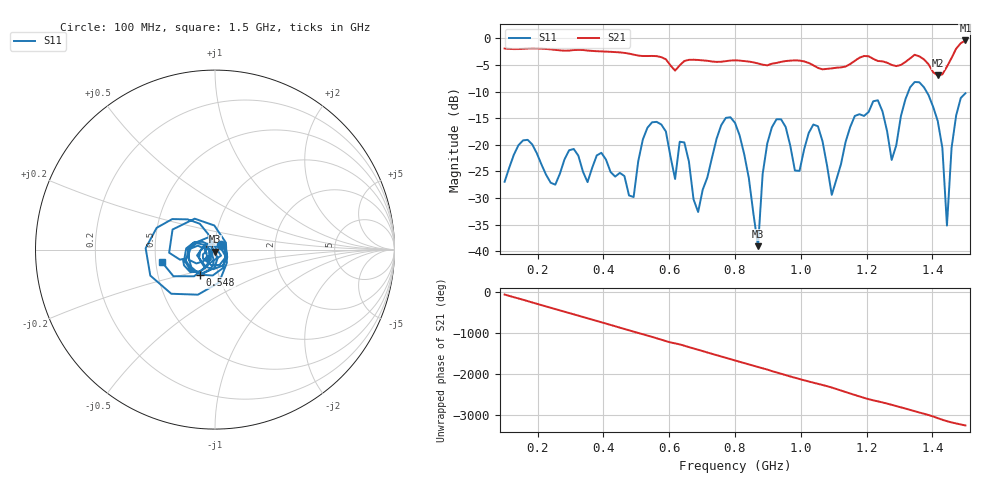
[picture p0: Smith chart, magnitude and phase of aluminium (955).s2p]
! NanoVNA-App
! Date: 2025-09-25 15:02:43
! Start: 100MHz Stop: 1,5GHz Points: 101
! S-Parameter data: F S11 S21 S12 S22
# Hz S RI R 50
!  Frequency  S11_Real  S11_Imag  S21_Real  S21_Imag  S12_Real  S12_Imag  S22_Real  S22_Imag
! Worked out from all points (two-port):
!   101 points, 100 MHz to 1.5 GHz, reference 50 ohm
!   highest |S21| = -0.41 dB at 1.5 GHz (marker M1); lowest = -7.0 dB at 1.416 GHz (marker M2)
!   |S21| within 3 dB of the highest: start of sweep to 565.9 MHz; 1.46 GHz to end of sweep (the widest 2 of 4)
!   lowest |S11| = -39.1 dB at 870 MHz (marker M3), VSWR 1.02, Z = 50.2 - j1.1 ohm
!   |S11| at or under -10 dB: start of sweep to 1.327 GHz; 1.382 GHz to end of sweep
!   S12 and S22 are empty: the file has one direction only
!   S11 on the Smith chart (normalised r, x): 100 MHz: 1.07, +0.06; 548 MHz: 0.82, -0.24; 1.5 GHz: 0.54, -0.08
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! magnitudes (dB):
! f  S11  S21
! 100 MHz  -27.0  -1.9
! 156 MHz  -19.2  -2.0
! 338 MHz  -25.1  -2.2
! 492 MHz  -29.8  -3.1
! 548 MHz  -15.8  -3.3
! 576 MHz  -16.2  -3.5
! 618 MHz  -26.4  -6.1
! 646 MHz  -19.6  -4.3
! 688 MHz  -32.6  -4.1
! 800 MHz  -15.9  -4.1
! 870 MHz  -39.1  -4.7
! 912 MHz  -16.7  -4.8
! 996 MHz  -24.9  -4.2
! 1.038 GHz  -16.2  -5.1
! 1.094 GHz  -29.4  -5.7
! 1.22 GHz  -11.8  -3.9
! 1.276 GHz  -22.9  -5.0
! 1.346 GHz  -8.2  -3.1
! 1.416 GHz  -15.5  -7.0
! 1.444 GHz  -35.2  -5.3
! 1.458 GHz  -20.6  -3.7
! 1.5 GHz  -10.3  -0.4
